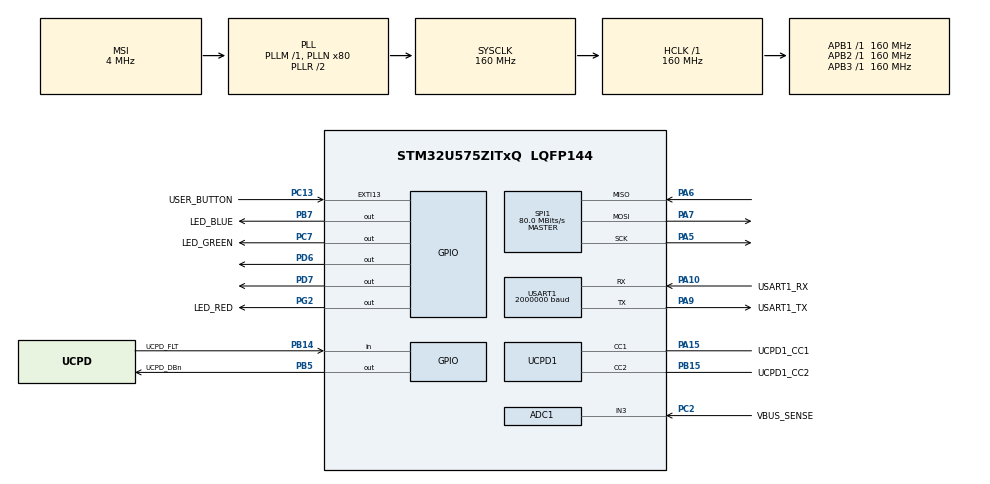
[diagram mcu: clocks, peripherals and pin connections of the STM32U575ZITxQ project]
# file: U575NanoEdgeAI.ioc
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ADC1.NbrOfConversion=1
ADC1.Resolution=ADC_RESOLUTION_14B
ADC1.master=1
CORTEX_M33_NS.userName=CORTEX_M33
Mcu.Family=STM32U5
Mcu.Name=STM32U575ZITxQ
Mcu.Package=LQFP144
NVIC.PriorityGroup=NVIC_PRIORITYGROUP_3
PA10.GPIO_Label=USART1_RX
PA10.GPIO_PuPd=GPIO_PULLDOWN
PA10.GPIO_Speed=GPIO_SPEED_FREQ_VERY_HIGH
PA10.Mode=Asynchronous
PA10.Signal=USART1_RX
PA13\ (JTMS/SWDIO).Mode=Trace_Asynchronous_SW
PA13\ (JTMS/SWDIO).Signal=DEBUG_JTMS-SWDIO
PA14\ (JTCK/SWCLK).Mode=Trace_Asynchronous_SW
PA14\ (JTCK/SWCLK).Signal=DEBUG_JTCK-SWCLK
PA15\ (JTDI).GPIO_Label=UCPD1_CC1
PA15\ (JTDI).Mode=Sink_AllSignals
PA15\ (JTDI).Signal=UCPD1_CC1
PA5.Mode=Full_Duplex_Master
PA5.Signal=SPI1_SCK
PA6.Mode=Full_Duplex_Master
PA6.Signal=SPI1_MISO
PA7.Mode=Full_Duplex_Master
PA7.Signal=SPI1_MOSI
PA9.GPIO_Label=USART1_TX
PA9.GPIO_PuPd=GPIO_PULLDOWN
PA9.GPIO_Speed=GPIO_SPEED_FREQ_VERY_HIGH
PA9.Mode=Asynchronous
PA9.Signal=USART1_TX
PB14.GPIO_Label=UCPD_FLT
PB14.Signal=GPIO_Input
PB15.GPIO_Label=UCPD1_CC2
PB15.Mode=Sink_AllSignals
PB15.Signal=UCPD1_CC2
PB3\ (JTDO/TRACESWO).Mode=Trace_Asynchronous_SW
PB3\ (JTDO/TRACESWO).Signal=DEBUG_JTDO-SWO
PB5.GPIO_Label=UCPD_DBn
PB5.Signal=GPIO_Output
PB7.GPIO_Label=LED_BLUE
PB7.GPIO_ModeDefaultOutputPP=GPIO_MODE_OUTPUT_PP
PB7.GPIO_PuPd=GPIO_PULLUP
PB7.GPIO_Speed=GPIO_SPEED_FREQ_HIGH
PB7.Signal=GPIO_Output
PC13.GPIO_Label=USER_BUTTON
PC13.GPIO_ModeDefaultEXTI=GPIO_MODE_IT_FALLING
PC13.Signal=GPXTI13
PC14-OSC32_IN\ (PC14).Mode=LSE-External-Oscillator
PC14-OSC32_IN\ (PC14).Signal=RCC_OSC32_IN
PC15-OSC32_OUT\ (PC15).Mode=LSE-External-Oscillator
PC15-OSC32_OUT\ (PC15).Signal=RCC_OSC32_OUT
PC2.GPIO_Label=VBUS_SENSE
PC2.Mode=IN3-Single-Ended
PC2.Signal=ADC1_IN3
PC7.GPIO_Label=LED_GREEN
PC7.GPIO_PuPd=GPIO_PULLUP
PC7.GPIO_Speed=GPIO_SPEED_FREQ_HIGH
PC7.Signal=GPIO_Output
PD6.GPIO_ModeDefaultOutputPP=GPIO_MODE_OUTPUT_OD
PD6.GPIO_PuPd=GPIO_NOPULL
PD6.GPIO_Speed=GPIO_SPEED_FREQ_VERY_HIGH
PD6.PinState=GPIO_PIN_RESET
PD6.Signal=GPIO_Output
PD7.GPIO_ModeDefaultOutputPP=GPIO_MODE_OUTPUT_OD
PD7.GPIO_PuPd=GPIO_NOPULL
PD7.GPIO_Speed=GPIO_SPEED_FREQ_VERY_HIGH
PD7.PinState=GPIO_PIN_RESET
PD7.Signal=GPIO_Output
PG2.GPIO_Label=LED_RED
PG2.GPIO_ModeDefaultOutputPP=GPIO_MODE_OUTPUT_PP
PG2.GPIO_PuPd=GPIO_PULLUP
PG2.GPIO_Speed=GPIO_SPEED_FREQ_HIGH
PG2.Signal=GPIO_Output
PWR.PowerMode=PWR_SMPS_SUPPLY
ProjectManager.HeapSize=0x200
ProjectManager.StackSize=0x400
ProjectManager.TargetToolchain=STM32CubeIDE
RCC.ADCFreq_Value=16000000
RCC.AHBFreq_Value=160000000
RCC.APB1Freq_Value=160000000
RCC.APB1TimFreq_Value=160000000
RCC.APB2Freq_Value=160000000
RCC.APB2TimFreq_Value=160000000
RCC.APB3Freq_Value=160000000
RCC.CortexFreq_Value=160000000
RCC.DACCLockSelectionVirtual=RCC_DAC1CLKSOURCE_LSI
RCC.EPOD_VALUE=4000000
RCC.HCLKFreq_Value=160000000
RCC.HSE_VALUE=16000000
RCC.HSI48_VALUE=48000000
RCC.HSI_VALUE=16000000
RCC.LSIDIV_VALUE=32000
RCC.MSI_VALUE=4000000
RCC.PLLN=80
RCC.SYSCLKFreq_VALUE=160000000
RCC.SYSCLKSource=RCC_SYSCLKSOURCE_PLLCLK
RCC.USBFreq_Value=48000000
RCC.VCOOutputFreq_Value=320000000
SPI1.CalculateBaudRate=80.0 MBits/s
SPI1.Direction=SPI_DIRECTION_2LINES
SPI1.Mode=SPI_MODE_MASTER
SPI1.VirtualType=VM_MASTER
USART1.BaudRate=2000000
USART1.VirtualMode-Asynchronous=VM_ASYNC
VP_ICACHE_VS_ICACHE.Mode=DirectMappedCache
VP_LPBAMQUEUE_VS_QUEUE.Mode=QUEUEMODE
VP_LPBAM_VS_SIG1.Mode=SmartRun
VP_LPBAM_VS_SIG4.Mode=LPDMA1
VP_PWR_VS_DBSignals.Mode=DisableDeadBatterySignals
VP_PWR_VS_LPOM.Mode=PowerOptimisation
VP_PWR_VS_SECSignals.Mode=Security/Privilege
board=NUCLEO-U575ZI-Q

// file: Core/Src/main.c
/* USER CODE BEGIN Header */
/**
  ******************************************************************************
  * @file    GPIO/GPIO_IOToggle/Src/main.c
  * @author  MCD Application Team
  * @brief   This example describes how to configure and use GPIOs through
  *          the STM32U5xx HAL API.
  ******************************************************************************
  * @attention
  *
  * Copyright (c) 2021 STMicroelectronics.
  * All rights reserved.
  *
  * This software is licensed under terms that can be found in the LICENSE file
  * in the root directory of this software component.
  * If no LICENSE file comes with this software, it is provided AS-IS.
  *
  ******************************************************************************
  */
/* USER CODE END Header */
#include "main.h"
#include "adc.h"
#include "icache.h"
#include "spi.h"
#include "ucpd.h"
#include "usart.h"
#include "gpio.h"

/* USER CODE BEGIN Includes */
#include "NanoEdgeAI.h"
#include "MPU6050.h"
#include <stdio.h>
#include <string.h>
/* USER CODE END Includes */

/* USER CODE BEGIN PD */
#define AXIS_NUMBER 6
#define DATA_INPUT_USER 50
#define MINIMUM_ITERATION_CALLS_FOR_EFFICIENT_LEARNING 18
/* USER CODE END PD */

/* USER CODE BEGIN PV */
int16_t AX, AY, AZ, GX, GY, GZ;
char buffer[20];
float acc_buffer[DATA_INPUT_USER * AXIS_NUMBER] = { 0 };
uint8_t similarity = 0;
/* USER CODE END PV */

void SystemClock_Config(void);
static void SystemPower_Config(void);
void malfunctionDetect();
void fill_accelerometer_buffer();

int main(void)
{
  /* USER CODE BEGIN 1 */
  /* STM32U5xx HAL library initialization:
       - Configure the Flash prefetch
       - Configure the Systick to generate an interrupt each 1 msec
       - Set NVIC Group Priority to 3
       - Low Level Initialization
     */
  /* USER CODE END 1 */

  /* MCU Configuration--------------------------------------------------------*/

  /* Reset of all peripherals, Initializes the Flash interface and the Systick. */
  HAL_Init();

  /* Configure the system clock */
  SystemClock_Config();

  /* Configure the System Power */
  SystemPower_Config();

  /* Initialize all configured peripherals */
  MX_GPIO_Init();
  MX_ADC1_Init();
  MX_UCPD1_Init();
  MX_USART1_UART_Init();
  MX_ICACHE_Init();
  MX_SPI1_Init();
  /* USER CODE BEGIN 2 */
  MPU6050_Init();
  HAL_Delay(100);
  MPU6050_Init();

  // Initialization
  neai_anomalydetection_init();

  // Learning
  for (uint16_t i = 0; i < MINIMUM_ITERATION_CALLS_FOR_EFFICIENT_LEARNING; i++) {
    HAL_GPIO_TogglePin(GPIOB, LED_GREEN_Pin);

    fill_accelerometer_buffer();
    neai_anomalydetection_learn(acc_buffer);

    HAL_GPIO_TogglePin(GPIOB, LED_GREEN_Pin);
    HAL_UART_Transmit(&huart1, (uint8_t*)"Learning number ", 16, 1000);
    //HAL_UART_Transmit(&huart1, (uint8_t*)(i+1), 2, 1000);
    HAL_UART_Transmit(&huart1, (uint8_t*)"\n", 1, 1000);
  }
  HAL_UART_Transmit(&huart1, (uint8_t*)"Learning finished\n", 18, 1000);

  /* USER CODE END 2 */

  /* Infinite loop */
  /* USER CODE BEGIN WHILE */
  while (1)
  {
	  // Inference
	  HAL_GPIO_TogglePin(GPIOB, LED_BLUE_Pin);
	  fill_accelerometer_buffer();
	  neai_anomalydetection_detect(acc_buffer, &similarity);
	  HAL_GPIO_TogglePin(GPIOB, LED_BLUE_Pin);
	  if (similarity >= 90) {
	    HAL_UART_Transmit(&huart1, (uint8_t*)"NORMAL!\n", 10, 1000);
	    HAL_GPIO_WritePin(LED_RED_GPIO_Port, LED_RED_Pin, GPIO_PIN_RESET);
	  }
	  else {
	    HAL_UART_Transmit(&huart1, (uint8_t*)"ERROR!\n", 10, 1000);
	    HAL_GPIO_WritePin(LED_RED_GPIO_Port, LED_RED_Pin, GPIO_PIN_SET);
	  }

  }
    /* USER CODE END WHILE */

}

void SystemClock_Config(void)
{
  RCC_OscInitTypeDef RCC_OscInitStruct = {0};
  RCC_ClkInitTypeDef RCC_ClkInitStruct = {0};

  /** Configure the main internal regulator output voltage
  */
  if (HAL_PWREx_ControlVoltageScaling(PWR_REGULATOR_VOLTAGE_SCALE1) != HAL_OK)
  {
    Error_Handler();
  }

  /** Initializes the CPU, AHB and APB buses clocks
  */
  RCC_OscInitStruct.OscillatorType = RCC_OSCILLATORTYPE_HSI|RCC_OSCILLATORTYPE_MSI;
  RCC_OscInitStruct.HSIState = RCC_HSI_ON;
  RCC_OscInitStruct.HSICalibrationValue = RCC_HSICALIBRATION_DEFAULT;
  RCC_OscInitStruct.MSIState = RCC_MSI_ON;
  RCC_OscInitStruct.MSICalibrationValue = RCC_MSICALIBRATION_DEFAULT;
  RCC_OscInitStruct.MSIClockRange = RCC_MSIRANGE_4;
  RCC_OscInitStruct.PLL.PLLState = RCC_PLL_ON;
  RCC_OscInitStruct.PLL.PLLSource = RCC_PLLSOURCE_MSI;
  RCC_OscInitStruct.PLL.PLLMBOOST = RCC_PLLMBOOST_DIV1;
  RCC_OscInitStruct.PLL.PLLM = 1;
  RCC_OscInitStruct.PLL.PLLN = 80;
  RCC_OscInitStruct.PLL.PLLP = 2;
  RCC_OscInitStruct.PLL.PLLQ = 2;
  RCC_OscInitStruct.PLL.PLLR = 2;
  RCC_OscInitStruct.PLL.PLLRGE = RCC_PLLVCIRANGE_0;
  RCC_OscInitStruct.PLL.PLLFRACN = 0;
  if (HAL_RCC_OscConfig(&RCC_OscInitStruct) != HAL_OK)
  {
    Error_Handler();
  }

  /** Initializes the CPU, AHB and APB buses clocks
  */
  RCC_ClkInitStruct.ClockType = RCC_CLOCKTYPE_HCLK|RCC_CLOCKTYPE_SYSCLK
                              |RCC_CLOCKTYPE_PCLK1|RCC_CLOCKTYPE_PCLK2
                              |RCC_CLOCKTYPE_PCLK3;
  RCC_ClkInitStruct.SYSCLKSource = RCC_SYSCLKSOURCE_PLLCLK;
  RCC_ClkInitStruct.AHBCLKDivider = RCC_SYSCLK_DIV1;
  RCC_ClkInitStruct.APB1CLKDivider = RCC_HCLK_DIV1;
  RCC_ClkInitStruct.APB2CLKDivider = RCC_HCLK_DIV1;
  RCC_ClkInitStruct.APB3CLKDivider = RCC_HCLK_DIV1;

  if (HAL_RCC_ClockConfig(&RCC_ClkInitStruct, FLASH_LATENCY_4) != HAL_OK)
  {
    Error_Handler();
  }
}

/**
  * @brief Power Configuration
  * @retval None
  */
static void SystemPower_Config(void)
{
  HAL_PWREx_EnableVddIO2();

  /*
   * Switch to SMPS regulator instead of LDO
   */
  if (HAL_PWREx_ConfigSupply(PWR_SMPS_SUPPLY) != HAL_OK)
  {
    Error_Handler();
  }
}

/* USER CODE BEGIN 4 */
void fill_accelerometer_buffer() {
  for (int i = 0; i < DATA_INPUT_USER; i++) {
	  MPU6050_GetData(&AX, &AY, &AZ, &GX, &GY, &GZ);

	  sprintf(buffer, "%.3f,", (float)AX / 1000);
	  HAL_UART_Transmit(&huart1, (uint8_t*)buffer, strlen(buffer), 1000);

	  sprintf(buffer, "%.3f,", (float)AY / 1000);
	  HAL_UART_Transmit(&huart1, (uint8_t*)buffer, strlen(buffer), 1000);

	  sprintf(buffer, "%.3f,", (float)AZ / 1000);
	  HAL_UART_Transmit(&huart1, (uint8_t*)buffer, strlen(buffer), 1000);

	  sprintf(buffer, "%.3f,", (float)GX / 1000);
	  HAL_UART_Transmit(&huart1, (uint8_t*)buffer, strlen(buffer), 1000);

	  sprintf(buffer, "%.3f,", (float)GY / 1000);
	  HAL_UART_Transmit(&huart1, (uint8_t*)buffer, strlen(buffer), 1000);

	  sprintf(buffer, "%.3f,", (float)GZ / 1000);
	  HAL_UART_Transmit(&huart1, (uint8_t*)buffer, strlen(buffer), 1000);

	  HAL_Delay(8);

    acc_buffer[AXIS_NUMBER * i + 0] = AX;
    acc_buffer[AXIS_NUMBER * i + 1] = AY;
    acc_buffer[AXIS_NUMBER * i + 2] = AZ;
    acc_buffer[AXIS_NUMBER * i + 3] = GX;
    acc_buffer[AXIS_NUMBER * i + 4] = GY;
    acc_buffer[AXIS_NUMBER * i + 5] = GZ;
  }
  HAL_UART_Transmit(&huart1, (uint8_t*)"\n", 1, 1000);
}
/* USER CODE END 4 */

void Error_Handler(void)
{
  while(1)
  {
  }
}
